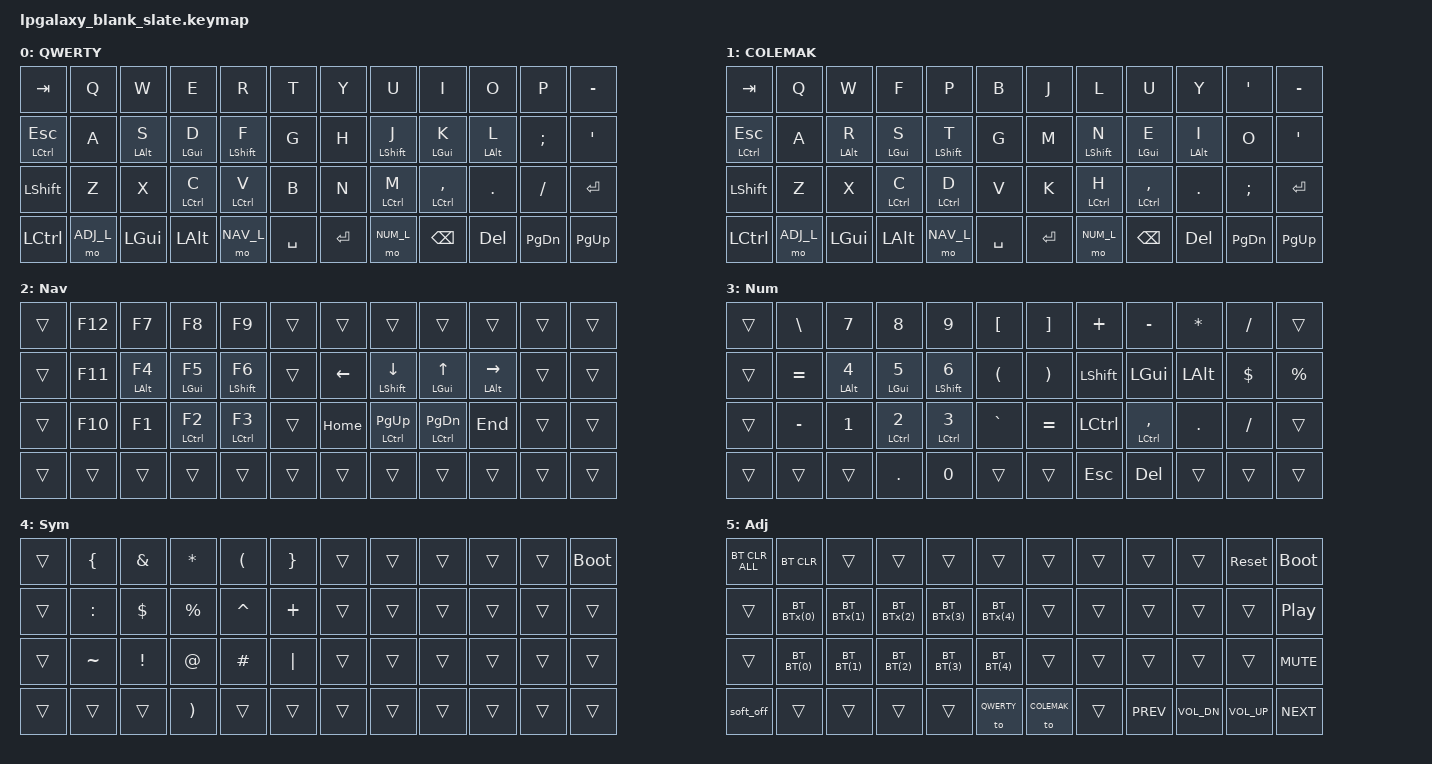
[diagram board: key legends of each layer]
/*
 * Copyright (c) 2022 Pete Johanson
 *
 * SPDX-License-Identifier: MIT
 */

#include <behaviors.dtsi>
#include <dt-bindings/zmk/keys.h>
#include <dt-bindings/zmk/bt.h>
#include <dt-bindings/zmk/outputs.h>

// Define Layers
#define QWERTY 0
#define COLEMAK 1
#define NAV_L 2
#define NUM_L 3
#define SYM_L 4
#define ADJ_L 5

// Using layer taps on thumbs, having quick tap as well helps w/ repeating space/backspace
&lt { quick_tap_ms = <200>; };

// Set Mod-Tap tapping term
&mt { 
    tapping-term-ms = <200>;
    // TODO: see if there is a global-quick-tap setting
    quick-tap-ms = <0>;
};

// Bluetooth helper macros
#define BT(n) BT_SEL n
#define BTx(n) BT_DISC n
#define BTc BT_CLR_ALL

/ {
    behaviors {
        // Home row mods
        // Adapted from https://zmk.dev/docs/keymaps/behaviors/hold-tap#option-2-tap-preferred
        hm: homerow_mods {
            compatible = "zmk,behavior-hold-tap";
            #binding-cells = <2>;
            tapping-term-ms = <200>;
            quick-tap-ms = <0>;
            flavor = "tap-preferred";
            bindings = <&kp>, <&kp>;
        };
    };
    
    macros {
      /* ZMK_MACRO(thumbs_up,
		wait-ms = <1>;
		tap-ms = <5>;
                bindings = <&kp PLUS &kp COLON &kp PLUS &kp N1 &kp COLON &kp RET>;
		) */
    };
    
    tap_dances {
    	shifty: shift_caps_word {
		compatible = "zmk,behavior-tap-dance";
		label = "TD_SHIFTY";
		#binding-cells = <0>;
		tapping-term-ms = <150>;
		bindings = <&kp LSHFT>, <&caps_word>;
	};
    };

    keymap {
        compatible = "zmk,keymap";

        // Qwerty base layer 
        qwerty_layer {
            label = "QWERTY";
            bindings = <
 &kp TAB         &kp Q           &kp W           &kp E           &kp R           &kp T           &kp Y           &kp U           &kp I           &kp O           &kp P           &kp MINUS
 &hm LCTRL ESC   &kp A           &hm LALT S      &hm LGUI D      &hm LSHFT F     &kp G           &kp H           &hm LSHFT J     &hm LGUI K      &hm LALT L      &kp SEMI        &kp QUOT
 &kp LSHFT       &kp Z           &kp X           &hm LCTRL C     &hm LCTRL V     &kp B           &kp N           &hm LCTRL M     &hm LCTRL COMMA &kp DOT         &kp FSLH        &kp RET
 &kp LCTRL       &mo ADJ_L       &kp LGUI        &kp LALT        &mo NAV_L       &kp SPACE       &kp RET         &mo NUM_L       &kp BSPC        &kp DEL         &kp PG_DN       &kp PG_UP
            >;
        };

        // Colemak Dhm base layer
        colemak_layer {
            label = "COLEMAK";
            bindings = <
 &kp TAB         &kp Q           &kp W           &kp F           &kp P           &kp B           &kp J           &kp L           &kp U           &kp Y           &kp QUOT        &kp MINUS
 &hm LCTRL ESC   &kp A 	         &hm LALT R      &hm LGUI S      &hm LSHFT T     &kp G           &kp M           &hm LSHFT N     &hm LGUI E      &hm LALT I      &kp O   	     &kp QUOT
 &kp LSHFT       &kp Z           &kp X           &hm LCTRL C     &hm LCTRL D     &kp V           &kp K           &hm LCTRL H     &hm LCTRL COMMA &kp DOT         &kp SEMI        &kp RET
 &kp LCTRL       &mo ADJ_L       &kp LGUI        &kp LALT        &mo NAV_L       &kp SPACE       &kp RET         &mo NUM_L       &kp BSPC        &kp DEL         &kp PG_DN       &kp PG_UP
            >;
        };

        nav_layer {
            label = "Nav";
            bindings = <
 &trans          &kp F12         &kp F7          &kp F8          &kp F9          &trans          &trans          &trans          &trans          &trans          &trans          &trans
 &trans          &kp F11         &hm LALT F4     &hm LGUI F5     &hm LSHFT F6    &trans          &kp LEFT        &hm LSHFT DOWN  &hm LGUI UP     &hm LALT RIGHT  &trans          &trans
 &trans          &kp F10         &kp F1          &hm LCTRL F2    &hm LCTRL F3    &trans          &kp HOME        &hm LCTRL PG_UP &hm LCTRL PG_DN &kp END         &trans          &trans
 &trans          &trans          &trans          &trans          &trans          &trans          &trans          &trans          &trans          &trans          &trans          &trans
            >;
        };

        num_layer {
            label = "Num";
            bindings = <
 &trans          &kp BSLH        &kp N7          &kp N8          &kp N9          &kp LBKT        &kp RBKT        &kp PLUS        &kp MINUS       &kp STAR        &kp SLASH       &trans
 &trans          &kp EQUAL       &hm LALT N4     &hm LGUI N5     &hm LSHFT N6    &kp LPAR        &kp RPAR        &kp LSHFT       &kp LGUI        &kp LALT        &kp DLLR        &kp PRCNT
 &trans          &kp MINUS       &kp N1          &hm LCTRL N2    &hm LCTRL N3    &kp GRAVE       &kp EQUAL       &kp LCTRL       &hm LCTRL COMMA &kp DOT         &kp SLASH       &trans
 &trans          &trans          &trans          &kp DOT         &kp N0          &trans          &trans          &kp ESC         &kp DEL         &trans          &trans          &trans
            >;
        };

        // TODO: fix or deprecate
        sym_layer {
            label = "Sym";
            bindings = <
 &trans          &kp LBRC        &kp AMPS        &kp STAR        &kp LPAR        &kp RBRC        &trans         &trans          &trans          &trans          &trans          &bootloader
 &trans          &kp COLON       &kp DLLR        &kp PRCNT       &kp CARET       &kp PLUS        &trans         &trans          &trans          &trans          &trans          &trans
 &trans          &kp TILDE       &kp EXCL        &kp AT          &kp HASH        &kp PIPE        &trans         &trans          &trans          &trans          &trans          &trans
 &trans          &trans          &trans          &kp RPAR        &trans          &trans          &trans         &trans          &trans          &trans          &trans          &trans

            >;
        };

        adj_layer {
            label = "Adj";
            bindings = <
 &bt BTc         &bt BT_CLR      &trans          &trans          &trans          &trans          &trans          &trans          &trans          &trans          &sys_reset      &bootloader
 &trans          &bt BTx(0)      &bt BTx(1)      &bt BTx(2)      &bt BTx(3)      &bt BTx(4)      &trans          &trans          &trans          &trans          &trans          &kp C_PLAY_PAUSE
 &trans          &bt BT(0)       &bt BT(1)       &bt BT(2)       &bt BT(3)       &bt BT(4)       &trans          &trans          &trans          &trans          &trans          &kp C_MUTE
 &soft_off       &trans          &trans          &trans          &trans          &to QWERTY      &to COLEMAK     &trans          &kp C_PREV      &kp C_VOL_DN    &kp C_VOL_UP    &kp C_NEXT

            >;
        };



    };
};

